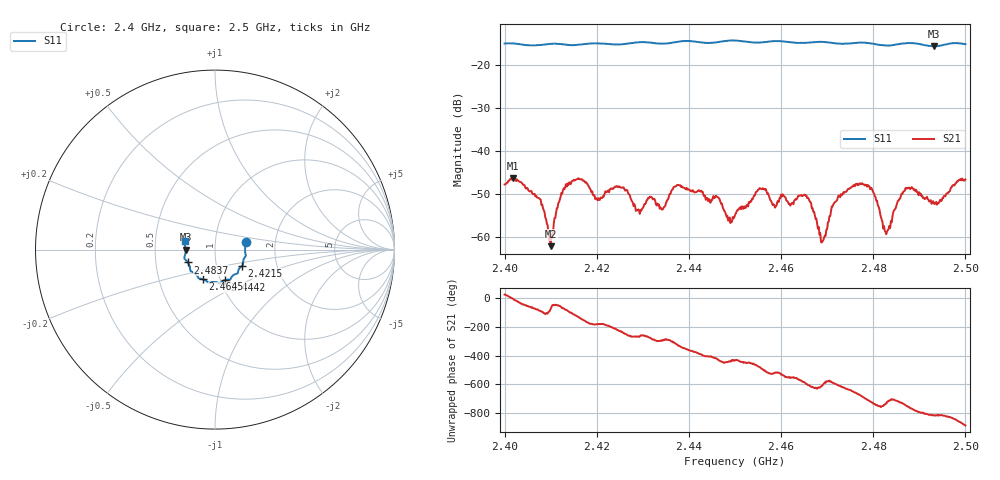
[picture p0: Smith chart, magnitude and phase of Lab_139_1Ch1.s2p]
# Hz S RI R 50
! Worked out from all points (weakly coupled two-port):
!   601 points, 2.4 GHz to 2.5 GHz, reference 50 ohm
!   highest |S21| = -46.27 dB at 2.4018 GHz (marker M1); lowest = -62.1 dB at 2.41 GHz (marker M2)
!   lowest |S11| = -15.7 dB at 2.4932 GHz (marker M3), VSWR 1.39, Z = 35.9 - j0.0661 ohm
!   |S11| at or under -10 dB: start of sweep to end of sweep
!   S12 and S22 are empty: the file has one direction only
!   S11 on the Smith chart (normalised r, x): 2.4 GHz: 1.41, +0.12; 2.4215 GHz: 1.33, -0.25; 2.4442 GHz: 1.05, -0.37; 2.4645 GHz: 0.83, -0.29; 2.4837 GHz: 0.73, -0.11; 2.5 GHz: 0.71, +0.07
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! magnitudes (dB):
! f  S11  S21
! 2.4 GHz  -15.1  -47.8
! 2.4018 GHz  -15.1  -46.3
! 2.4077 GHz  -15.4  -51.2
! 2.41 GHz  -15.2  -62.1
! 2.4128 GHz  -15.3  -48.7
! 2.4167 GHz  -15.3  -46.5
! 2.4215 GHz  -15.1  -50.6
! 2.4333 GHz  -15.1  -52.6
! 2.4377 GHz  -14.7  -47.9
! 2.4442 GHz  -15.0  -51.6
! 2.45 GHz  -14.4  -54.9
! 2.4555 GHz  -14.8  -48.7
! 2.4645 GHz  -15.0  -50.4
! 2.4667 GHz  -14.8  -53.3
! 2.4692 GHz  -14.7  -60.7
! 2.4722 GHz  -15.1  -51.4
! 2.478 GHz  -14.9  -47.7
! 2.4833 GHz  -15.6  -58.1
! 2.4837 GHz  -15.5  -57.9
! 2.4873 GHz  -15.0  -48.6
! 2.4932 GHz  -15.7  -52.2
! 2.5 GHz  -15.2  -46.6
